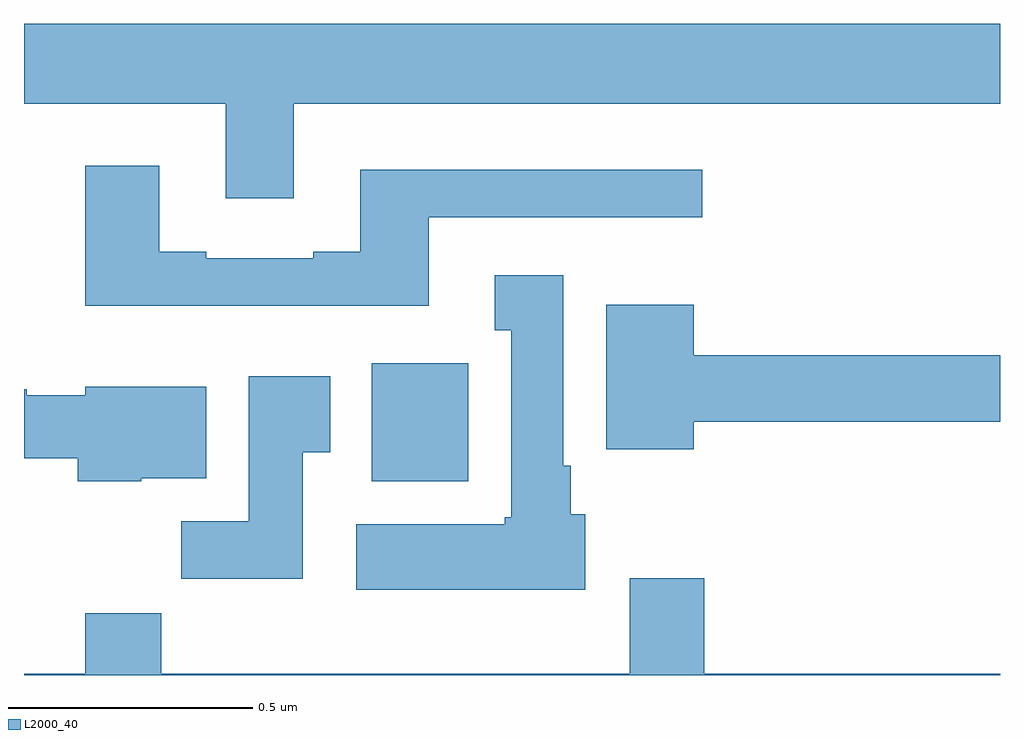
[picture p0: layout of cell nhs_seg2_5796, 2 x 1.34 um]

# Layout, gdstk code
import gdstk
lib = gdstk.Library(unit=1e-6, precision=1e-09)
def R(c, l, rs):  # rectangles x0, y0, x1, y1
    for r in rs: c.add(gdstk.rectangle(r[:2], r[2:], *l))
def P(c, l, *ps):  # polygons
    for p in ps: c.add(gdstk.Polygon(p, *l))
L2000_40 = (2000, 40)

nhs_seg2_5796 = lib.new_cell('nhs_seg2_5796')
R(nhs_seg2_5796, L2000_40, [(183.713,644.198,183.91,644.44)])
P(nhs_seg2_5796, L2000_40, [(183.553,644.972),(185,644.972),(185,645.136),(183,645.136),(183,644.972),(183.413,644.972),(183.413,644.778),(183.553,644.778)],
  [(183.829,644.739),(184.39,644.739),(184.39,644.836),(183.689,644.836),(183.689,644.668),(183.593,644.668),(183.593,644.655),(183.373,644.655),(183.373,644.668),(183.277,644.668),(183.277,644.845),(183.125,644.845),(183.125,644.558),(183.829,644.558)],
  [(184.15,644.13),(184.12,644.13),(184.12,644.23),(184.105,644.23),(184.105,644.62),(183.965,644.62),(183.965,644.507),(183.998,644.507),(183.998,644.124),(183.985,644.124),(183.985,644.11),(183.681,644.11),(183.681,643.976),(184.15,643.976)],
  [(184.372,644.32),(185,644.32),(185,644.456),(184.372,644.456),(184.372,644.56),(184.193,644.56),(184.193,644.264),(184.372,644.264)],
  [(183.571,644.257),(183.628,644.257),(183.628,644.413),(183.461,644.413),(183.461,644.116),(183.322,644.116),(183.322,643.998),(183.571,643.998)],
  [(183.24,644.204),(183.373,644.204),(183.373,644.392),(183.126,644.392),(183.126,644.374),(183.006,644.374),(183.006,644.387),(183,644.387),(183,644.245),(183.11,644.245),(183.11,644.198),(183.24,644.198)],
  [(185,643.804),(184.394,643.804),(184.394,643.999),(184.241,643.999),(184.241,643.804),(183.281,643.804),(183.281,643.928),(183.125,643.928),(183.125,643.804),(183,643.804),(183,643.8),(185,643.8)])

lib.write_gds('nhs_seg2_5796.gds')
